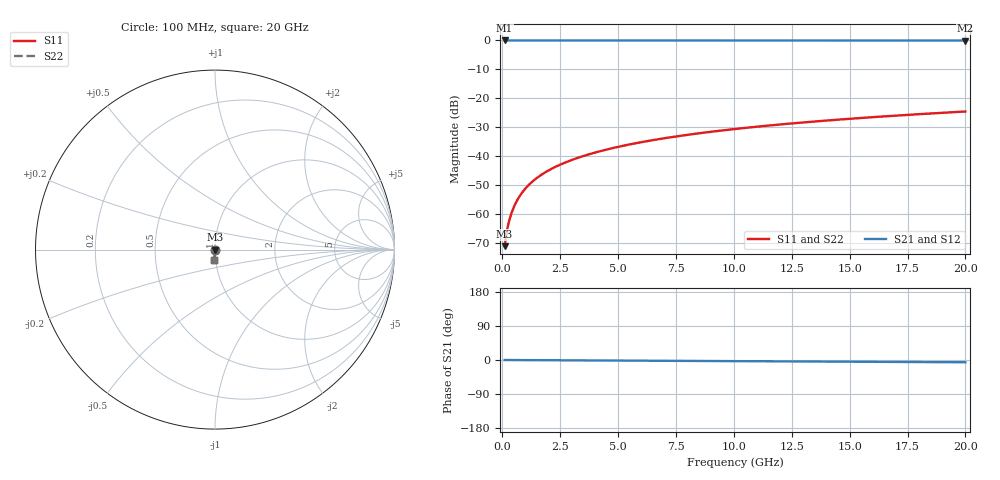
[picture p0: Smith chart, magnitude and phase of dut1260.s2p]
! Touchstone file exported from HFSS 2026.1.0
!  File:  C:/ffzhzh/LocalFiles/Ansys_Project_Files/temp_train_TSV_1260_1783193887_22436.aedt
!  Generated:  03:39:13 AM Jul  5, 2026
!  Design:  TSV
!  Project:  temp_train_TSV_1260_1783193887_22436
! Variables:
!  h_bsmrdl = 2um
!  h_ox = 20um
!  h_rdl = 5um
!  h_sub = 52.09um
!  h_tmrdl = 5um
!  h_tsv = 52.09um
!  h_via = 3um
!  l_bsmrdl = 300um
!  l_sub = 416.72um
!  l_tmrdl = 200um
!  m_sub = 200um
!  pitch = 20.98um
!  r_tsv = 8.36um
!  s_tmrdl = 10um
!  w_bsmrdl = 18um
!  w_sub = 500um
!  w_tmrdl = 12um
!  x_tsv_center1 = 206um
!  x_tsv_center2 = 524um
!  x_tsv_center3 = 736um
!  x_tsv_center4 = 1054um
!  x_tsv_center5 = 1266um
!  x_tsv_center6 = 1584um
# GHz S MA R 50.000000
! Terminal data exported
! Port[1] = TSV1_1_T1
! Port[2] = TSV1_1_T2
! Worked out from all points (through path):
!   200 points, 100 MHz to 20 GHz, reference 50 ohm
!   highest |S21| = 0.00 dB at 100 MHz (marker M1); lowest = 0.0 dB at 20 GHz (marker M2)
!   lowest |S11| = -71.0 dB at 100 MHz (marker M3), VSWR 1.00, Z = 50 - j0.0247 ohm
!   |S11| at or under -10 dB: start of sweep to end of sweep
!   |S22| runs from -71.0 to -24.5 dB; largest |S21 - S12| = 4.3e-15
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0.1  0.0002809 -61.4  0.9999 -0.0  0.9999 -0.0  0.0002809 -61.4
! Gamma 0 0 0 0
! Port Impedance 50 0 50 0
0.2  0.0005221 -72.9  0.9998 -0.1  0.9998 -0.1  0.0005221 -72.9
0.3  0.0007821 -76.8  0.9998 -0.1  0.9998 -0.1  0.0007821 -76.8
0.4  0.001054 -78.7  0.9998 -0.1  0.9998 -0.1  0.001054 -78.7
0.5  0.001334 -80.0  0.9998 -0.2  0.9998 -0.2  0.001334 -80.0
0.7  0.001908 -81.7  0.9997 -0.2  0.9997 -0.2  0.001908 -81.7
0.8  0.002199 -82.4  0.9997 -0.3  0.9997 -0.3  0.002199 -82.4
1  0.002783 -83.5  0.9997 -0.3  0.9997 -0.3  0.002783 -83.5
1.2  0.003369 -84.3  0.9996 -0.4  0.9996 -0.4  0.003369 -84.3
1.4  0.003954 -85.0  0.9996 -0.4  0.9996 -0.4  0.003954 -85.0
1.7  0.004832 -85.8  0.9996 -0.5  0.9996 -0.5  0.004832 -85.8
2  0.00571 -86.4  0.9996 -0.6  0.9996 -0.6  0.00571 -86.4
2.7  0.00776 -87.3  0.9995 -0.8  0.9995 -0.8  0.00776 -87.3
3.5  0.01011 -88.0  0.9994 -1.1  0.9994 -1.1  0.01011 -88.0
4.2  0.01218 -88.5  0.9993 -1.3  0.9993 -1.3  0.01218 -88.5
5  0.01455 -88.9  0.9992 -1.5  0.9992 -1.5  0.01455 -88.9
6.8  0.01991 -89.8  0.999 -2.1  0.999 -2.1  0.01991 -89.8
8.3  0.02439 -90.5  0.9988 -2.5  0.9988 -2.5  0.02439 -90.5
10.1  0.02977 -91.2  0.9986 -3.1  0.9986 -3.1  0.02977 -91.2
13.4  0.03964 -92.4  0.9981 -4.0  0.9981 -4.0  0.03964 -92.4
16.7  0.0495 -93.6  0.9975 -5.0  0.9975 -5.0  0.0495 -93.6
20  0.05936 -94.7  0.9969 -6.0  0.9969 -6.0  0.05936 -94.7
